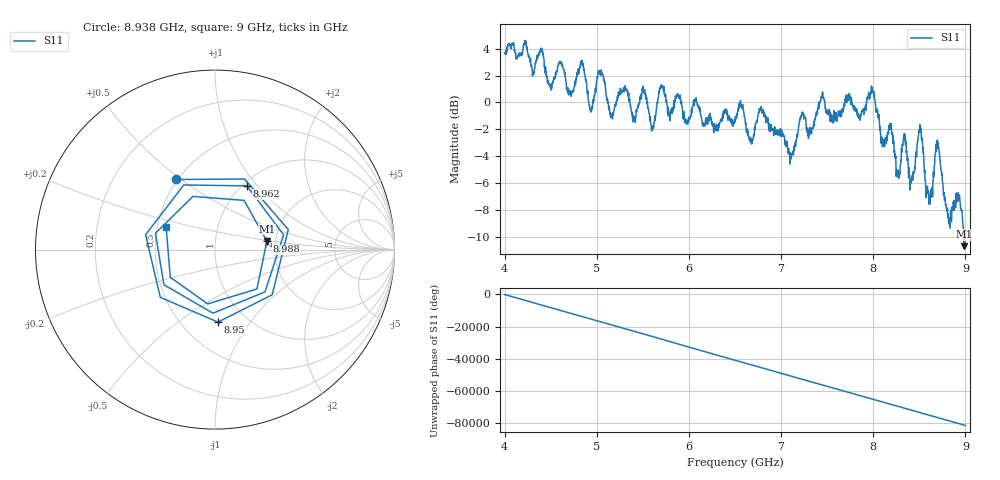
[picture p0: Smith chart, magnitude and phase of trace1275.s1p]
! Created with skrf 1.8.0 (http://scikit-rf.org).
# Hz S RI R 50.0
!freq ReS11 ImS11
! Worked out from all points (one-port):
!   1601 points, 4 GHz to 9 GHz, reference 50 ohm
!   lowest |S11| = -10.7 dB at 8.988 GHz (marker M1), VSWR 1.83, Z = 90 + j9.35 ohm
!   |S11| at or under -10 dB: 8.984346 GHz to 8.990537 GHz (6.192 MHz wide, 0.0689 % of centre); 8.991844 GHz to end of sweep
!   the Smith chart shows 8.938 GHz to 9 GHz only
!   S11 on the Smith chart (normalised r, x): 8.938 GHz: 0.49, +0.48; 8.95 GHz: 0.74, -0.71; 8.962 GHz: 1.05, +0.89; 8.988 GHz: 1.80, +0.19; 9 GHz: 0.56, +0.15
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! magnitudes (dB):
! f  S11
! 4 GHz  3.7
! 4.625 GHz  2.9
! 4.722 GHz  0.5
! 4.844 GHz  2.9
! 4.934 GHz  -0.7
! 5.038 GHz  2.3
! 5.156 GHz  -1.1
! 5.25 GHz  0.7
! 5.6 GHz  -2.0
! 5.697 GHz  1.2
! 5.875 GHz  0.5
! 6.5 GHz  -1.4
! 7.125 GHz  -3.8
! 7.228 GHz  -0.9
! 7.75 GHz  0.2
! 7.991 GHz  1.1
! 8.266 GHz  -5.5
! 8.375 GHz  -4.1
! 8.422 GHz  -5.7
! 8.509 GHz  -2.2
! 8.594 GHz  -6.8
! 8.694 GHz  -2.8
! 8.809 GHz  -8.5
! 8.938 GHz  -7.0
! 8.95 GHz  -7.9
! 8.962 GHz  -8.0
! 8.988 GHz  -10.7
! 9 GHz  -10.5
